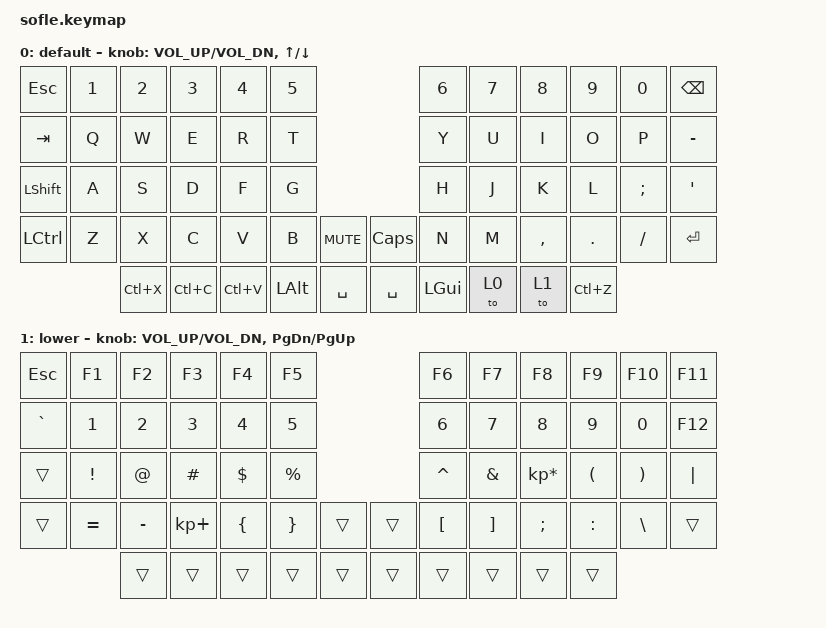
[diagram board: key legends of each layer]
/*
 * Copyright (c) 2020 The ZMK Contributors
 *
 * SPDX-License-Identifier: MIT
 */

#include <behaviors.dtsi>
#include <dt-bindings/zmk/keys.h>

#define BASE 0
#define LOWER 1
#define RAISE 2
#define ADJUST 3

/ {
    // Activate ADJUST layer by pressing raise and lower

    conditional_layers {
        compatible = "zmk,conditional-layers";

        adjust_layer {
            if-layers = <1 2>;
            then-layer = <3>;
        };
    };

    keymap {
        compatible = "zmk,keymap";

        default_layer {
            label = "default";

            // ------------------------------------------------------------------------------------------------------------
            // |   `   |  1  |  2  |  3   |  4   |  5   |                   |  6   |  7    |  8    |  9   |   0   |       |
            // |  ESC  |  Q  |  W  |  E   |  R   |  T   |                   |  Y   |  U    |  I    |  O   |   P   | BKSPC |
            // |  TAB  |  A  |  S  |  D   |  F   |  G   |                   |  H   |  J    |  K    |  L   |   ;   |   '   |
            // | SHIFT |  Z  |  X  |  C   |  V   |  B   |  MUTE  |  |       |  N   |  M    |  ,    |  .   |   /   | SHIFT |
            //               | GUI | ALT  | CTRL | LOWER|  ENTER |  | SPACE | RAISE| CTRL  | ALT   | GUI  |

            bindings = <
&kp ESC     &kp N1  &kp N2     &kp N3     &kp N4     &kp N5                                 &kp N6    &kp N7  &kp N8     &kp N9     &kp N0    &kp BACKSPACE
&kp TAB     &kp Q   &kp W      &kp E      &kp R      &kp T                                  &kp Y     &kp U   &kp I      &kp O      &kp P     &kp MINUS
&kp LSHIFT  &kp A   &kp S      &kp D      &kp F      &kp G                                  &kp H     &kp J   &kp K      &kp L      &kp SEMI  &kp SQT
&kp LCTRL   &kp Z   &kp X      &kp C      &kp V      &kp B         &kp C_MUTE    &kp CAPS   &kp N     &kp M   &kp COMMA  &kp DOT    &kp FSLH  &kp ENTER
                    &kp LC(X)  &kp LC(C)  &kp LC(V)  &kp LEFT_ALT  &kp SPACE     &kp SPACE  &kp LGUI  &to 0   &to 1      &kp LC(Z)
            >;

            sensor-bindings =
                <&inc_dec_kp C_VOL_UP C_VOL_DN>,
                <&inc_dec_kp UP DOWN>;
        };

        lower_layer {
            label = "lower";

            // TODO: Some binds are waiting for shifted keycode support.
            // ------------------------------------------------------------------------------------------------------------
            // |       |  F1 |  F2 |  F3  |  F4  |  F5  |                   |  F6  |  F7   |  F8   |  F9  |  F10  |  F11  |
            // |   `   |  1  |  2  |  3   |  4   |  5   |                   |  6   |  7    |  8    |  9   |   0   |  F12  |
            // |       |  !  |  @  |  #   |  $   |  %   |                   |  ^   |  &    |  *    |  (   |   )   |   |   |
            // |       |  =  |  -  |  +   |  {   |  }   |        |  |       |  [   |  ]    |  ;    |  :   |   \   |       |
            //               |     |      |      |      |        |  |       |      |       |       |      |

            bindings = <
&kp ESC    &kp F1     &kp F2     &kp F3       &kp F4    &kp F5                       &kp F6     &kp F7    &kp F8           &kp F9     &kp F10   &kp F11
&kp GRAVE  &kp N1     &kp N2     &kp N3       &kp N4    &kp N5                       &kp N6     &kp N7    &kp N8           &kp N9     &kp N0    &kp F12
&trans     &kp EXCL   &kp AT     &kp HASH     &kp DLLR  &kp PRCNT                    &kp CARET  &kp AMPS  &kp KP_MULTIPLY  &kp LPAR   &kp RPAR  &kp PIPE
&trans     &kp EQUAL  &kp MINUS  &kp KP_PLUS  &kp LBRC  &kp RBRC   &trans    &trans  &kp LBKT   &kp RBKT  &kp SEMI         &kp COLON  &kp BSLH  &trans
                      &trans     &trans       &trans    &trans     &trans    &trans  &trans     &trans    &trans           &trans
            >;

            sensor-bindings =
                <&inc_dec_kp C_VOL_UP C_VOL_DN>,
                <&inc_dec_kp PG_DN PG_UP>;
        };
    };
};
